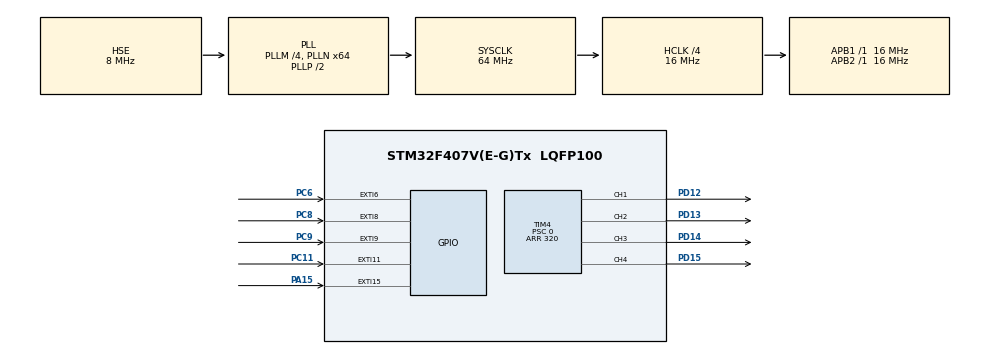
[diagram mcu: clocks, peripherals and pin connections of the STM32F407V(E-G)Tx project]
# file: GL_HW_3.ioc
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Mcu.Family=STM32F4
Mcu.Name=STM32F407V(E-G)Tx
Mcu.Package=LQFP100
NVIC.EXTI15_10_IRQn=true\:0\:0\:false\:false\:true\:true\:true\:true
NVIC.EXTI9_5_IRQn=true\:0\:0\:false\:false\:true\:true\:true\:true
NVIC.PriorityGroup=NVIC_PRIORITYGROUP_0
PA15.Signal=GPXTI15
PC11.Signal=GPXTI11
PC6.Signal=GPXTI6
PC8.Signal=GPXTI8
PC9.Signal=GPXTI9
PD12.Signal=S_TIM4_CH1
PD13.Signal=S_TIM4_CH2
PD14.Signal=S_TIM4_CH3
PD15.Signal=S_TIM4_CH4
PH0-OSC_IN.Mode=HSE-External-Oscillator
PH0-OSC_IN.Signal=RCC_OSC_IN
PH1-OSC_OUT.Mode=HSE-External-Oscillator
PH1-OSC_OUT.Signal=RCC_OSC_OUT
ProjectManager.HeapSize=0x200
ProjectManager.StackSize=0x400
ProjectManager.TargetToolchain=STM32CubeIDE
RCC.48MHZClocksFreq_Value=18285714.285714287
RCC.AHBCLKDivider=RCC_SYSCLK_DIV4
RCC.AHBFreq_Value=16000000
RCC.APB1Freq_Value=16000000
RCC.APB1TimFreq_Value=16000000
RCC.APB2Freq_Value=16000000
RCC.APB2TimFreq_Value=16000000
RCC.CortexFreq_Value=16000000
RCC.HCLKFreq_Value=16000000
RCC.HSE_VALUE=8000000
RCC.HSI_VALUE=16000000
RCC.LSE_VALUE=32768
RCC.PLLM=4
RCC.PLLN=64
RCC.PLLQ=7
RCC.PLLSourceVirtual=RCC_PLLSOURCE_HSE
RCC.SYSCLKFreq_VALUE=64000000
RCC.SYSCLKSource=RCC_SYSCLKSOURCE_PLLCLK
RCC.VCOOutputFreq_Value=128000000
SH.S_TIM4_CH1.0=TIM4_CH1,PWM Generation1 CH1
SH.S_TIM4_CH2.0=TIM4_CH2,PWM Generation2 CH2
SH.S_TIM4_CH3.0=TIM4_CH3,PWM Generation3 CH3
SH.S_TIM4_CH4.0=TIM4_CH4,PWM Generation4 CH4
TIM4.Channel-PWM\ Generation1\ CH1=TIM_CHANNEL_1
TIM4.Channel-PWM\ Generation2\ CH2=TIM_CHANNEL_2
TIM4.Channel-PWM\ Generation3\ CH3=TIM_CHANNEL_3
TIM4.Channel-PWM\ Generation4\ CH4=TIM_CHANNEL_4
TIM4.OCPolarity_4=TIM_OCPOLARITY_HIGH
TIM4.Period=320
TIM4.Prescaler=0
VP_TIM4_VS_ClockSourceINT.Mode=Internal
board=STM32F407G-DISC1

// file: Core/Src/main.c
/* USER CODE BEGIN Header */
/**
  ******************************************************************************
  * @file           : main.c
  * @brief          : Main program body
  ******************************************************************************
  * @attention
  *
  * Copyright (c) 2023 STMicroelectronics.
  * All rights reserved.
  *
  * This software is licensed under terms that can be found in the LICENSE file
  * in the root directory of this software component.
  * If no LICENSE file comes with this software, it is provided AS-IS.
  *
  ******************************************************************************
  */
/* USER CODE END Header */
#include "main.h"

/* USER CODE BEGIN PTD */
typedef enum TIM_Current_CH
{
	CH_1,
	CH_2,
	CH_3,
	CH_4,
	Unselected
} TIM_Current_CH;
/* USER CODE END PTD */

TIM_HandleTypeDef htim4;

/* USER CODE BEGIN PV */
const uint32_t TIM_CLOCK = 16000000;
uint32_t Duty_Cycle = 50;
uint32_t TIM4_CCRs;
uint32_t TIM_Frequency;
TIM_Current_CH Current_CH = CH_1;
/* USER CODE END PV */

void SystemClock_Config(void);
static void MX_GPIO_Init(void);
static void MX_TIM4_Init(void);
/* USER CODE BEGIN PFP */
void Set_Duty_Cycle(void);
void Start_Current_PWM_CH(void);
void Stop_All_PWM_CH(void);
/* USER CODE END PFP */

int main(void)
{

  /* MCU Configuration--------------------------------------------------------*/

  /* Reset of all peripherals, Initializes the Flash interface and the Systick. */
  HAL_Init();

  /* Configure the system clock */
  SystemClock_Config();

  /* Initialize all configured peripherals */
  MX_GPIO_Init();
  MX_TIM4_Init();
  /* USER CODE BEGIN 2 */
  TIM_Frequency = TIM_CLOCK / TIM4->ARR;

  Set_Duty_Cycle();
  Start_Current_PWM_CH();
  /* USER CODE END 2 */

  /* Infinite loop */
  while (1)
  {

  }
}

void SystemClock_Config(void)
{
  RCC_OscInitTypeDef RCC_OscInitStruct = {0};
  RCC_ClkInitTypeDef RCC_ClkInitStruct = {0};

  /** Configure the main internal regulator output voltage
  */
  __HAL_RCC_PWR_CLK_ENABLE();
  __HAL_PWR_VOLTAGESCALING_CONFIG(PWR_REGULATOR_VOLTAGE_SCALE1);

  /** Initializes the RCC Oscillators according to the specified parameters
  * in the RCC_OscInitTypeDef structure.
  */
  RCC_OscInitStruct.OscillatorType = RCC_OSCILLATORTYPE_HSE;
  RCC_OscInitStruct.HSEState = RCC_HSE_ON;
  RCC_OscInitStruct.PLL.PLLState = RCC_PLL_ON;
  RCC_OscInitStruct.PLL.PLLSource = RCC_PLLSOURCE_HSE;
  RCC_OscInitStruct.PLL.PLLM = 4;
  RCC_OscInitStruct.PLL.PLLN = 64;
  RCC_OscInitStruct.PLL.PLLP = RCC_PLLP_DIV2;
  RCC_OscInitStruct.PLL.PLLQ = 7;
  if (HAL_RCC_OscConfig(&RCC_OscInitStruct) != HAL_OK)
  {
    Error_Handler();
  }

  /** Initializes the CPU, AHB and APB buses clocks
  */
  RCC_ClkInitStruct.ClockType = RCC_CLOCKTYPE_HCLK|RCC_CLOCKTYPE_SYSCLK
                              |RCC_CLOCKTYPE_PCLK1|RCC_CLOCKTYPE_PCLK2;
  RCC_ClkInitStruct.SYSCLKSource = RCC_SYSCLKSOURCE_PLLCLK;
  RCC_ClkInitStruct.AHBCLKDivider = RCC_SYSCLK_DIV4;
  RCC_ClkInitStruct.APB1CLKDivider = RCC_HCLK_DIV1;
  RCC_ClkInitStruct.APB2CLKDivider = RCC_HCLK_DIV1;

  if (HAL_RCC_ClockConfig(&RCC_ClkInitStruct, FLASH_LATENCY_0) != HAL_OK)
  {
    Error_Handler();
  }
}

static void MX_TIM4_Init(void)
{

  TIM_ClockConfigTypeDef sClockSourceConfig = {0};
  TIM_MasterConfigTypeDef sMasterConfig = {0};
  TIM_OC_InitTypeDef sConfigOC = {0};

  htim4.Instance = TIM4;
  htim4.Init.Prescaler = 0;
  htim4.Init.CounterMode = TIM_COUNTERMODE_UP;
  htim4.Init.Period = 320;
  htim4.Init.ClockDivision = TIM_CLOCKDIVISION_DIV1;
  htim4.Init.AutoReloadPreload = TIM_AUTORELOAD_PRELOAD_DISABLE;
  if (HAL_TIM_Base_Init(&htim4) != HAL_OK)
  {
    Error_Handler();
  }
  sClockSourceConfig.ClockSource = TIM_CLOCKSOURCE_INTERNAL;
  if (HAL_TIM_ConfigClockSource(&htim4, &sClockSourceConfig) != HAL_OK)
  {
    Error_Handler();
  }
  if (HAL_TIM_PWM_Init(&htim4) != HAL_OK)
  {
    Error_Handler();
  }
  sMasterConfig.MasterOutputTrigger = TIM_TRGO_RESET;
  sMasterConfig.MasterSlaveMode = TIM_MASTERSLAVEMODE_DISABLE;
  if (HAL_TIMEx_MasterConfigSynchronization(&htim4, &sMasterConfig) != HAL_OK)
  {
    Error_Handler();
  }
  sConfigOC.OCMode = TIM_OCMODE_PWM1;
  sConfigOC.Pulse = 0;
  sConfigOC.OCPolarity = TIM_OCPOLARITY_HIGH;
  sConfigOC.OCFastMode = TIM_OCFAST_DISABLE;
  if (HAL_TIM_PWM_ConfigChannel(&htim4, &sConfigOC, TIM_CHANNEL_1) != HAL_OK)
  {
    Error_Handler();
  }
  if (HAL_TIM_PWM_ConfigChannel(&htim4, &sConfigOC, TIM_CHANNEL_2) != HAL_OK)
  {
    Error_Handler();
  }
  if (HAL_TIM_PWM_ConfigChannel(&htim4, &sConfigOC, TIM_CHANNEL_3) != HAL_OK)
  {
    Error_Handler();
  }
  if (HAL_TIM_PWM_ConfigChannel(&htim4, &sConfigOC, TIM_CHANNEL_4) != HAL_OK)
  {
    Error_Handler();
  }
  HAL_TIM_MspPostInit(&htim4);

}

static void MX_GPIO_Init(void)
{
  GPIO_InitTypeDef GPIO_InitStruct = {0};

  /* GPIO Ports Clock Enable */
  __HAL_RCC_GPIOH_CLK_ENABLE();
  __HAL_RCC_GPIOD_CLK_ENABLE();
  __HAL_RCC_GPIOC_CLK_ENABLE();
  __HAL_RCC_GPIOA_CLK_ENABLE();

  /*Configure GPIO pins : PC6 PC8 PC9 PC11 */
  GPIO_InitStruct.Pin = GPIO_PIN_6|GPIO_PIN_8|GPIO_PIN_9|GPIO_PIN_11;
  GPIO_InitStruct.Mode = GPIO_MODE_IT_RISING;
  GPIO_InitStruct.Pull = GPIO_NOPULL;
  HAL_GPIO_Init(GPIOC, &GPIO_InitStruct);

  /*Configure GPIO pin : PA15 */
  GPIO_InitStruct.Pin = GPIO_PIN_15;
  GPIO_InitStruct.Mode = GPIO_MODE_IT_RISING;
  GPIO_InitStruct.Pull = GPIO_NOPULL;
  HAL_GPIO_Init(GPIOA, &GPIO_InitStruct);

  /* EXTI interrupt init*/
  HAL_NVIC_SetPriority(EXTI9_5_IRQn, 0, 0);
  HAL_NVIC_EnableIRQ(EXTI9_5_IRQn);

  HAL_NVIC_SetPriority(EXTI15_10_IRQn, 0, 0);
  HAL_NVIC_EnableIRQ(EXTI15_10_IRQn);

}

/* USER CODE BEGIN 4 */
void Set_Duty_Cycle(void)
{
	TIM4_CCRs = (Duty_Cycle * TIM4->ARR) / 100;
	TIM4->CCR1 = TIM4_CCRs;
	TIM4->CCR2 = TIM4_CCRs;
	TIM4->CCR3 = TIM4_CCRs;
	TIM4->CCR4 = TIM4_CCRs;
}

void Start_Current_PWM_CH(void)
{
	switch (Current_CH)
	{
		case CH_1:
			HAL_TIM_PWM_Start(&htim4, TIM_CHANNEL_1);
			HAL_TIM_PWM_Stop(&htim4, TIM_CHANNEL_2);
			HAL_TIM_PWM_Stop(&htim4, TIM_CHANNEL_3);
			HAL_TIM_PWM_Stop(&htim4, TIM_CHANNEL_4);
			break;
		case CH_2:
			HAL_TIM_PWM_Stop(&htim4, TIM_CHANNEL_1);
			HAL_TIM_PWM_Start(&htim4, TIM_CHANNEL_2);
			HAL_TIM_PWM_Stop(&htim4, TIM_CHANNEL_3);
			HAL_TIM_PWM_Stop(&htim4, TIM_CHANNEL_4);
			break;
		case CH_3:
			HAL_TIM_PWM_Stop(&htim4, TIM_CHANNEL_1);
			HAL_TIM_PWM_Stop(&htim4, TIM_CHANNEL_2);
			HAL_TIM_PWM_Start(&htim4, TIM_CHANNEL_3);
			HAL_TIM_PWM_Stop(&htim4, TIM_CHANNEL_4);
			break;
		case CH_4:
			HAL_TIM_PWM_Stop(&htim4, TIM_CHANNEL_1);
			HAL_TIM_PWM_Stop(&htim4, TIM_CHANNEL_2);
			HAL_TIM_PWM_Stop(&htim4, TIM_CHANNEL_3);
			HAL_TIM_PWM_Start(&htim4, TIM_CHANNEL_4);
			break;
		case Unselected:
			HAL_TIM_PWM_Stop(&htim4, TIM_CHANNEL_1);
			HAL_TIM_PWM_Stop(&htim4, TIM_CHANNEL_2);
			HAL_TIM_PWM_Stop(&htim4, TIM_CHANNEL_3);
			HAL_TIM_PWM_Stop(&htim4, TIM_CHANNEL_4);
			break;
		default:
			HAL_TIM_PWM_Stop(&htim4, TIM_CHANNEL_1);
			HAL_TIM_PWM_Stop(&htim4, TIM_CHANNEL_2);
			HAL_TIM_PWM_Stop(&htim4, TIM_CHANNEL_3);
			HAL_TIM_PWM_Stop(&htim4, TIM_CHANNEL_4);

	}
}

void Stop_All_PWM_CH(void)
{
	HAL_TIM_PWM_Stop(&htim4, TIM_CHANNEL_1);
	HAL_TIM_PWM_Stop(&htim4, TIM_CHANNEL_2);
	HAL_TIM_PWM_Stop(&htim4, TIM_CHANNEL_3);
	HAL_TIM_PWM_Stop(&htim4, TIM_CHANNEL_4);
}

void HAL_GPIO_EXTI_Callback(uint16_t GPIO_Pin)
{
	if (GPIO_Pin == GPIO_PIN_6)
	{
		if (TIM_Frequency >= 100000)
		{
			return;
		}
		Stop_All_PWM_CH();
		MX_TIM4_Init();
		Start_Current_PWM_CH();

		TIM_Frequency = TIM_Frequency + 5000;
		TIM4->ARR = TIM_CLOCK / TIM_Frequency;

		Set_Duty_Cycle();
	}

	if (GPIO_Pin == GPIO_PIN_8)
	{
		if (TIM_Frequency <= 10000)
		{
			return;
		}
		Stop_All_PWM_CH();
		MX_TIM4_Init();
		Start_Current_PWM_CH();

		TIM_Frequency = TIM_Frequency - 5000;
		TIM4->ARR = TIM_CLOCK / TIM_Frequency;

		Set_Duty_Cycle();
	}

	if (GPIO_Pin == GPIO_PIN_9)
	{
		if (Duty_Cycle >= 95)
		{
			return;
		}
		Stop_All_PWM_CH();
		MX_TIM4_Init();
		Start_Current_PWM_CH();

		Duty_Cycle = Duty_Cycle + 5;

		Set_Duty_Cycle();
	}

	if (GPIO_Pin == GPIO_PIN_11)
	{
		if (Duty_Cycle <= 5)
		{
			return;
		}
		Stop_All_PWM_CH();
		MX_TIM4_Init();
		Start_Current_PWM_CH();

		Duty_Cycle = Duty_Cycle - 5;

		Set_Duty_Cycle();
	}

	if (GPIO_Pin == GPIO_PIN_15)
	{
		if (Current_CH < Unselected)
		{
			++Current_CH;
		}
		else
		{
			Current_CH = CH_1;
		}

		Start_Current_PWM_CH();
	}
}
/* USER CODE END 4 */

void Error_Handler(void)
{
  __disable_irq();
  while (1)
  {
  }
}
